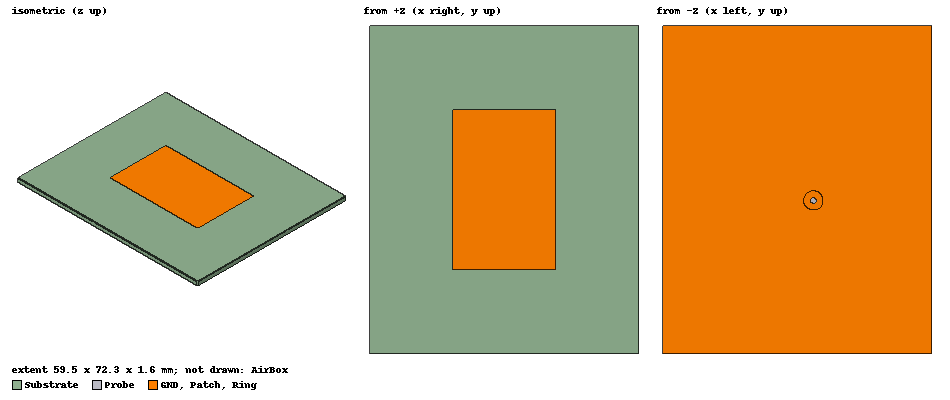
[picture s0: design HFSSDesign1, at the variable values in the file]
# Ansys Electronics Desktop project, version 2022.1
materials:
  vacuum: permittivity=1
  FR4_epoxy: permittivity=4.4 dielectric_loss_tangent=0.02
  pec: conductivity=1e+30

design HFSSDesign1 (HFSS, DrivenModal, model units mm)
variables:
  h = 1.6mm
  L1 = 35.3mm  # optimise 18.103mm..54.309mm
  L2 = 22.5mm  # optimise 11.6385mm..34.9155mm
  xp = 3.581mm  # optimise 1.7905mm..5.3715mm
  yp = 2.378mm  # optimise 1.189mm..3.567mm
  ra = 0.635mm
  rb = 2.124mm
  mg = 18.5mm
  Wg = L2+2*mg
  Lg = L1+2*mg
  pad = 37.474mm
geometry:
  Substrate [FR4_epoxy] = box(corner=(-Wg/2, -Lg/2, 0mm), size=(Wg, Lg, h))
  GND = rectangle(corner=(-Wg/2, -Lg/2, 0mm), x_size=Wg, y_size=Lg)
  Patch = rectangle(corner=(-L2/2, -L1/2, h), x_size=L2, y_size=L1)
  Probe [pec] = cylinder(axis=Z, base_centre=(-xp, -yp, 0mm), radius=ra, height=h)
  Ring = circle(normal=Z, centre=(-xp, -yp, 0mm), radius=rb)
  Pin = circle(normal=Z, centre=(-xp, -yp, 0mm), radius=ra)
  Ring_1 = Ring.copy()
  GND.subtract(Ring_1)
  Ring.subtract(Pin)
  Probe_1 = Probe.copy()
  Substrate.subtract(Probe_1)
  AirBox [vacuum] = box(corner=(-Wg/2-pad, -Lg/2-pad, -pad), size=(Wg+2*pad, Lg+2*pad, h+2*pad))
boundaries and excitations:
  PerfE1: Perfect E Objects=[GND, Patch]
  Rad1: Radiation Objects=AirBox
  1: Lumped Port Objects=Ring Modes{Mode1{IntLine{(-5.705, -2.378, 0) -> (-4.216, -2.378, 0)} CharImp=Zpi RenormImp=50ohm}} Impedance=50ohm
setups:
  Setup1: HfssDriven MultipleAdaptiveFreqsSetup{AdaptAt{Frequency=2GHz Delta=0.02} AdaptAt{Frequency=3GHz Delta=0.02}} MaximumPasses=20 MinimumPasses=1 MinimumConvergedPasses=1 PercentRefinement=30 BasisOrder=1 PortAccuracy=2 DrivenSolverType="Direct Solver"
    sweep Sweep: 1GHz to 4GHz, 401 points; Type=Interpolating InterpTolerance=0.5 InterpMaxSolns=250 InterpUsePortImped=false PassivityErrorTolerance=0.0001
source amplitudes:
  1:1: 1W 0deg
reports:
  S Parameter Plot 1: dB(S(1,1)) vs Freq on Setup1 : Sweep; markers m1 at 2.8975GHz, m2 at 3.8875GHz
  S Parameter Plot 2: dB(S(1,1)) vs Freq on Setup1 : Sweep [L1=all L2=all]
